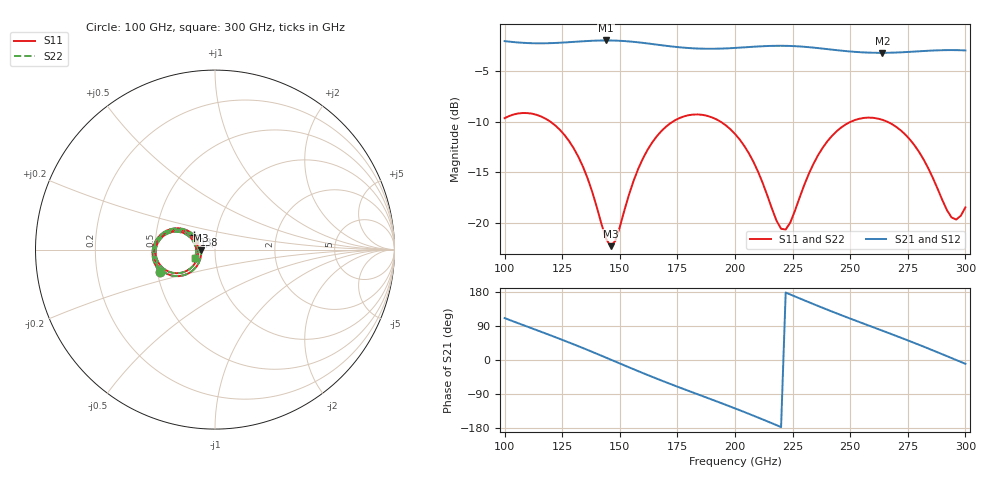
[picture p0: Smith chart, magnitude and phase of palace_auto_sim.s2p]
#  GHZ S DB R 50
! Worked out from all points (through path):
!   101 points, 100 GHz to 300 GHz, reference 50 ohm
!   highest |S21| = -2.00 dB at 144 GHz (marker M1); lowest = -3.2 dB at 264 GHz (marker M2)
!   group delay of S21, straight-line fit = 6.69 ps
!   lowest |S11| = -22.3 dB at 146 GHz (marker M3), VSWR 1.17, Z = 42.9 - j0.252 ohm
!   |S11| at or under -10 dB: 119.9 GHz to 173 GHz (53.13 GHz wide, 36.3 % of centre); 193.7 GHz to 250.3 GHz (56.57 GHz wide, 25.5 % of centre); 266.1 GHz to end of sweep
!   |S22| runs from -22.2 to -9.1 dB; largest |S21 - S12| = 9e-14
!   S11 on the Smith chart (normalised r, x): 100 GHz: 0.52, -0.14; 138 GHz: 0.78, +0.13; 300 GHz: 0.80, -0.08
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100  -9.65 -158.1  -2.06 110.6  -2.06 110.6  -9.65 -158.0
108  -9.14 -173.1  -2.23 92.2  -2.23 92.2  -9.14 -173.1
118  -9.73 168.6  -2.27 69.5  -2.27 69.5  -9.72 168.7
134  -14.43 145.4  -2.08 31.5  -2.08 31.5  -14.41 145.7
138  -16.89 145.2  -2.03 21.5  -2.03 21.5  -16.87 145.5
144  -21.53 165.7  -2.00 6.3  -2.00 6.3  -21.47 165.9
146  -22.26 -177.8  -2.00 1.2  -2.00 1.2  -22.19 -177.8
156  -15.81 -136.7  -2.13 -24.4  -2.13 -24.4  -15.80 -136.8
168  -10.93 -149.7  -2.46 -53.9  -2.46 -53.9  -10.93 -149.7
184  -9.29 -176.9  -2.79 -90.9  -2.79 -90.9  -9.28 -176.9
200  -11.20 157.3  -2.73 -127.7  -2.73 -127.7  -11.20 157.3
210  -14.92 148.1  -2.59 -151.8  -2.59 -151.8  -14.92 148.1
220  -20.55 175.0  -2.52 -177.0  -2.52 -177.0  -20.55 175.0
224  -19.93 -159.7  -2.54 172.9  -2.54 172.9  -19.94 -159.6
234  -14.18 -143.0  -2.70 147.7  -2.70 147.7  -14.18 -142.9
248  -10.28 -160.1  -3.04 114.0  -3.04 114.0  -10.27 -159.9
264  -9.81 174.5  -3.22 77.3  -3.22 77.3  -9.81 174.7
268  -10.22 168.3  -3.20 68.1  -3.20 68.1  -10.21 168.6
278  -12.36 155.3  -3.09 44.6  -3.09 44.6  -12.33 155.7
286  -15.60 152.4  -2.99 25.1  -2.99 25.1  -15.55 153.0
294  -19.43 174.1  -2.94 5.1  -2.94 5.1  -19.29 174.4
300  -18.44 -156.4  -2.98 -10.1  -2.98 -10.1  -18.32 -156.8
